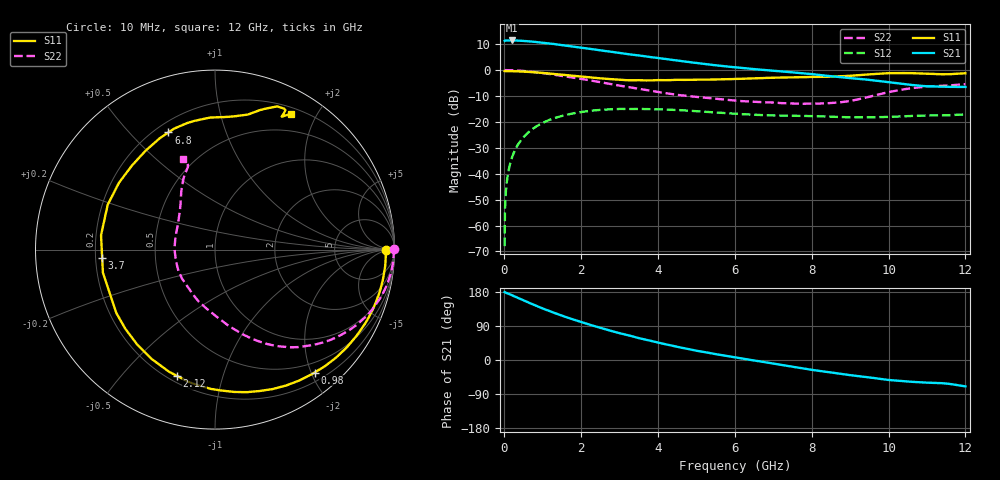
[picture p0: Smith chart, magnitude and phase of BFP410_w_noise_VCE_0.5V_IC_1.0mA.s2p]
! Infineon Technologies  Discrete & RF Semiconductors
! BFP410
! VCE =  0.5 V,  IC =  1.0 mA
! Common Emitter S-Parameters:  Nov 2015
# GHz  S  MA  R  50
!  f  S11  S21  S12  S22
! GHz  MAG  ANG  MAG  ANG  MAG  ANG  MAG  ANG
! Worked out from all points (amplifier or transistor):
!   243 points, 10 MHz to 12 GHz, reference 50 ohm
!   highest |S21| = 11.4 dB at 200 MHz (marker M1)
!   |S21| within 3 dB of that: start of sweep to 2.103 GHz
!   unconditionally stable (mu >= 1): 4.599 GHz to end of sweep
!   at 240 MHz: K = 0.03, MSG = 21.8 dB, |S12| = -32.3 dB
!   at 1.84 GHz: K = 0.33, MSG = 12.8 dB, |S12| = -16.6 dB
!   at 12 GHz: K = 1.29, MAG = 2.0 dB, |S12| = -17.1 dB
!   lowest NFmin = 0.79 dB at 900 MHz
!   S11 on the Smith chart (normalised r, x): 10 MHz: 43, -5; 980 MHz: 0.33, -2.05; 2.12 GHz: 0.23, -0.72; 3.7 GHz: 0.23, -0.03; 6.8 GHz: 0.25, +0.65; 12 GHz: 0.27, +1.67
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0.01  0.9551 -0.3  3.665 179.5  0.0004 82.1  0.9963 0.1
0.015  0.9533 -0.6  3.691 179.3  0.0012 85.7  0.9957 -0.1
0.02  0.9515 -0.9  3.717 179.2  0.0021 86.4  0.9952 -0.4
0.045  0.952 -2.2  3.7 177.5  0.0047 90.4  0.9958 -1.4
0.105  0.9528 -5.5  3.721 175.4  0.0107 86.6  0.9949 -3.5
0.2  0.95 -10.4  3.722 171.0  0.0204 83.6  0.9905 -6.5
0.36  0.9426 -18.7  3.696 163.8  0.0367 78.4  0.9774 -11.7
0.6  0.9237 -31.3  3.602 152.7  0.06 70.4  0.9458 -19.2
0.98  0.8813 -51.0  3.386 136.9  0.0939 58.1  0.8774 -30.2
1.4  0.8262 -72.5  3.096 120.6  0.1243 45.3  0.7914 -40.9
1.7  0.7875 -87.0  2.898 110.1  0.1413 37.0  0.7327 -47.4
2.02  0.7489 -102.0  2.687 99.8  0.1556 29.0  0.673 -53.8
2.12  0.735 -106.7  2.625 96.6  0.1591 26.5  0.6537 -55.7
2.8  0.6666 -138.5  2.243 76.2  0.1755 10.9  0.5319 -68.1
3.7  0.6303 -175.9  1.823 53.3  0.1767 -5.3  0.4103 -82.7
4.1  0.6378 169.7  1.672 43.7  0.1743 -11.3  0.3675 -89.8
5  0.6519 145.1  1.368 24.5  0.1613 -22.4  0.3035 -107.4
6.1  0.6759 123.2  1.112 5.5  0.1422 -29.7  0.2536 -128.7
6.8  0.7025 111.7  0.997 -6.1  0.1345 -31.7  0.2384 -145.1
8.2  0.7376 88.5  0.803 -28.7  0.1278 -35.7  0.2258 172.1
10.2  0.8722 65.2  0.559 -54.3  0.1265 -35.3  0.4001 117.2
12  0.8672 60.9  0.472 -69.7  0.1395 -40.7  0.5336 109.3
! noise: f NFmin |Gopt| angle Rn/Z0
0.45  0.82  0.68  9  0.45
0.9  0.79  0.65  23  0.41
1.8  1.13  0.53  57  0.35
2.4  1.23  0.5  71  0.31
5.5  2.66  0.44  -153  0.19
